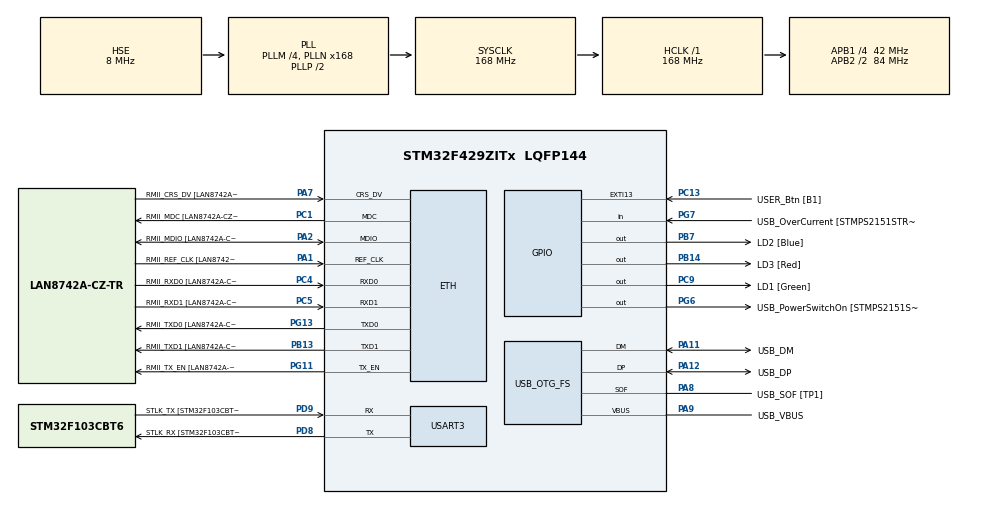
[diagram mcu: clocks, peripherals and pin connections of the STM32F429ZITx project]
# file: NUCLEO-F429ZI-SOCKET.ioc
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ETH.MediaInterface=ETH_MEDIA_INTERFACE_RMII
ETH.PHY_Name=LAN8742A_PHY_ADDRESS
ETH.PHY_Value=0
ETH.PhyAddress=0
FREERTOS.Queues01=SocketReceiveStack,16,uint16_t,0,Dynamic,NULL,NULL;SocketSendStack,16,uint16_t,0,Dynamic,NULL,NULL;SocketHandlerStack,16,uint16_t,0,Dynamic,NULL,NULL
FREERTOS.Tasks01=defaultTask,0,128,StartDefaultTask,Default,NULL,Dynamic,NULL,NULL;SocketSend,0,128,SocketSendFunct,Default,NULL,Dynamic,NULL,NULL;SocketReceived,0,128,SocketReceivedFunct,Default,NULL,Dynamic,NULL,NULL;SocketHandler,-2,128,SocketHandlerFunct,Default,NULL,Dynamic,NULL,NULL
FREERTOS.configUSE_PREEMPTION=0
LWIP.IP_ADDRESS=192.168.000.012
LWIP.LWIP_DHCP=0
LWIP.NETMASK_ADDRESS=255.255.255.000
LWIP.Version=v2.0.3_Cube
Mcu.Family=STM32F4
Mcu.Name=STM32F429ZITx
Mcu.Package=LQFP144
NVIC.ETH_IRQn=true\:5\:0\:false\:false\:true\:true\:false\:true
NVIC.PriorityGroup=NVIC_PRIORITYGROUP_4
NVIC.TIM1_UP_TIM10_IRQn=true\:0\:0\:false\:false\:true\:false\:false\:true
NVIC.TimeBase=TIM1_UP_TIM10_IRQn
NVIC.TimeBaseIP=TIM1
PA1.GPIO_Label=RMII_REF_CLK [LAN8742A-CZ-TR_REFCLK0]
PA1.Mode=RMII
PA1.Signal=ETH_REF_CLK
PA10.GPIO_Label=USB_ID
PA10.Signal=USB_OTG_FS_ID
PA11.GPIO_Label=USB_DM
PA11.Mode=Device_Only
PA11.Signal=USB_OTG_FS_DM
PA12.GPIO_Label=USB_DP
PA12.Mode=Device_Only
PA12.Signal=USB_OTG_FS_DP
PA13.GPIO_Label=TMS
PA13.Mode=Serial_Wire
PA13.Signal=SYS_JTMS-SWDIO
PA14.GPIO_Label=TCK
PA14.Mode=Serial_Wire
PA14.Signal=SYS_JTCK-SWCLK
PA2.GPIO_Label=RMII_MDIO [LAN8742A-CZ-TR_MDIO]
PA2.Mode=RMII
PA2.Signal=ETH_MDIO
PA7.GPIO_Label=RMII_CRS_DV [LAN8742A-CZ-TR_CRS_DV]
PA7.Mode=RMII
PA7.Signal=ETH_CRS_DV
PA8.GPIO_Label=USB_SOF [TP1]
PA8.Mode=Activate_SOF_FS
PA8.Signal=USB_OTG_FS_SOF
PA9.GPIO_Label=USB_VBUS
PA9.Mode=Activate_VBUS
PA9.Signal=USB_OTG_FS_VBUS
PB13.GPIO_Label=RMII_TXD1 [LAN8742A-CZ-TR_TXD1]
PB13.Mode=RMII
PB13.Signal=ETH_TXD1
PB14.GPIO_Label=LD3 [Red]
PB14.Signal=GPIO_Output
PB7.GPIO_Label=LD2 [Blue]
PB7.Signal=GPIO_Output
PC1.GPIO_Label=RMII_MDC [LAN8742A-CZ-TR_MDC]
PC1.Mode=RMII
PC1.Signal=ETH_MDC
PC13.GPIO_Label=USER_Btn [B1]
PC13.Signal=GPXTI13
PC14/OSC32_IN.Mode=LSE-External-Oscillator
PC14/OSC32_IN.Signal=RCC_OSC32_IN
PC15/OSC32_OUT.Mode=LSE-External-Oscillator
PC15/OSC32_OUT.Signal=RCC_OSC32_OUT
PC4.GPIO_Label=RMII_RXD0 [LAN8742A-CZ-TR_RXD0]
PC4.Mode=RMII
PC4.Signal=ETH_RXD0
PC5.GPIO_Label=RMII_RXD1 [LAN8742A-CZ-TR_RXD1]
PC5.Mode=RMII
PC5.Signal=ETH_RXD1
PC9.GPIO_Label=LD1 [Green]
PC9.Signal=GPIO_Output
PD8.GPIO_Label=STLK_RX [STM32F103CBT6_PA3]
PD8.Mode=Asynchronous
PD8.Signal=USART3_TX
PD9.GPIO_Label=STLK_TX [STM32F103CBT6_PA2]
PD9.Mode=Asynchronous
PD9.Signal=USART3_RX
PG11.GPIO_Label=RMII_TX_EN [LAN8742A-CZ-TR_TXEN]
PG11.Mode=RMII
PG11.Signal=ETH_TX_EN
PG13.GPIO_Label=RMII_TXD0 [LAN8742A-CZ-TR_TXD0]
PG13.Mode=RMII
PG13.Signal=ETH_TXD0
PG6.GPIO_Label=USB_PowerSwitchOn [STMPS2151STR_EN]
PG6.Signal=GPIO_Output
PG7.GPIO_Label=USB_OverCurrent [STMPS2151STR_FAULT]
PG7.Signal=GPIO_Input
PH0/OSC_IN.GPIO_Label=MCO [STM32F103CBT6_PA8]
PH0/OSC_IN.Mode=HSE-External-Clock-Source
PH0/OSC_IN.Signal=RCC_OSC_IN
PH1/OSC_OUT.Mode=HSE-External-Clock-Source
PH1/OSC_OUT.Signal=RCC_OSC_OUT
ProjectManager.HeapSize=0x200
ProjectManager.StackSize=0x400
ProjectManager.TargetToolchain=TrueSTUDIO
RCC.48MHZClocksFreq_Value=48000000
RCC.AHBFreq_Value=168000000
RCC.APB1CLKDivider=RCC_HCLK_DIV4
RCC.APB1Freq_Value=42000000
RCC.APB1TimFreq_Value=84000000
RCC.APB2CLKDivider=RCC_HCLK_DIV2
RCC.APB2Freq_Value=84000000
RCC.APB2TimCLKDivider=2
RCC.APB2TimFreq_Value=168000000
RCC.CortexFreq_Value=168000000
RCC.HCLKFreq_Value=168000000
RCC.HSE_VALUE=8000000
RCC.HSI_VALUE=16000000
RCC.PLLM=4
RCC.PLLMUL=RCC_PLL_MUL9
RCC.PLLN=168
RCC.PLLQ=7
RCC.PRESCALERUSB=RCC_USBCLKSOURCE_PLL_DIV1_5
RCC.SYSCLKFreq_VALUE=168000000
RCC.SYSCLKSource=RCC_SYSCLKSOURCE_PLLCLK
RCC.SYSCLKSourceVirtual=RCC_SYSCLKSOURCE_PLLCLK
RCC.USBFreq_Value=48000000
RCC.VCOOutputFreq_Value=336000000
USART3.VirtualMode=VM_ASYNC
USB_OTG_FS.VirtualMode=Device_Only
VP_FREERTOS_VS_CMSIS_V1.Mode=CMSIS_V1
VP_LWIP_VS_Enabled.Mode=Enabled
VP_SYS_VS_tim1.Mode=TIM1
board=NUCLEO-F429ZI

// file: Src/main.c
/* USER CODE BEGIN Header */
/**
  ******************************************************************************
  * @file           : main.c
  * @brief          : Main program body
  ******************************************************************************
  * @attention
  *
  * <h2><center>&copy; Copyright (c) 2019 STMicroelectronics.
  * All rights reserved.</center></h2>
  *
  * This software component is licensed by ST under Ultimate Liberty license
  * SLA0044, the "License"; You may not use this file except in compliance with
  * the License. You may obtain a copy of the License at:
  *                             www.st.com/SLA0044
  *
  ******************************************************************************
  */
/* USER CODE END Header */

#include "main.h"
#include "cmsis_os.h"
#include "lwip.h"

/* USER CODE BEGIN Includes */
#include "sockets.h"
#include "string.h"

/* USER CODE END Includes */

UART_HandleTypeDef huart3;

PCD_HandleTypeDef hpcd_USB_OTG_FS;

osThreadId defaultTaskHandle;
osThreadId SocketSendHandle;
osThreadId SocketReceivedHandle;
osThreadId SocketHandlerHandle;
osMessageQId SocketReceiveStackHandle;
osMessageQId SocketSendStackHandle;
osMessageQId SocketHandlerStackHandle;

void SystemClock_Config(void);
static void MX_GPIO_Init(void);
static void MX_USART3_UART_Init(void);
static void MX_USB_OTG_FS_PCD_Init(void);
void StartDefaultTask(void const * argument);
void SocketSendFunct(void const * argument);
void SocketReceivedFunct(void const * argument);
void SocketHandlerFunct(void const * argument);

int main(void)
{

  /* MCU Configuration--------------------------------------------------------*/

  /* Reset of all peripherals, Initializes the Flash interface and the Systick. */
  HAL_Init();

  /* Configure the system clock */
  SystemClock_Config();

  /* Initialize all configured peripherals */
  MX_GPIO_Init();
  MX_USART3_UART_Init();
  MX_USB_OTG_FS_PCD_Init();

  /* Create the queue(s) */
  /* definition and creation of SocketReceiveStack */
  osMessageQDef(SocketReceiveStack, 16, uint16_t);
  SocketReceiveStackHandle = osMessageCreate(osMessageQ(SocketReceiveStack), NULL);

  /* definition and creation of SocketSendStack */
  osMessageQDef(SocketSendStack, 16, uint16_t);
  SocketSendStackHandle = osMessageCreate(osMessageQ(SocketSendStack), NULL);

  /* definition and creation of SocketHandlerStack */
  osMessageQDef(SocketHandlerStack, 16, uint16_t);
  SocketHandlerStackHandle = osMessageCreate(osMessageQ(SocketHandlerStack), NULL);

  /* Create the thread(s) */
  /* definition and creation of defaultTask */
  osThreadDef(defaultTask, StartDefaultTask, osPriorityNormal, 0, 128);
  defaultTaskHandle = osThreadCreate(osThread(defaultTask), NULL);

  /* definition and creation of SocketSend */
  osThreadDef(SocketSend, SocketSendFunct, osPriorityNormal, 0, 128);
  SocketSendHandle = osThreadCreate(osThread(SocketSend), NULL);

  /* definition and creation of SocketReceived */
  osThreadDef(SocketReceived, SocketReceivedFunct, osPriorityNormal, 0, 128);
  SocketReceivedHandle = osThreadCreate(osThread(SocketReceived), NULL);

  /* definition and creation of SocketHandler */
  osThreadDef(SocketHandler, SocketHandlerFunct, osPriorityLow, 0, 128);
  SocketHandlerHandle = osThreadCreate(osThread(SocketHandler), NULL);

  /* Start scheduler */
  osKernelStart();

  /* We should never get here as control is now taken by the scheduler */

  /* Infinite loop */
  while (1)
  {

  }
}

void SystemClock_Config(void)
{
  RCC_OscInitTypeDef RCC_OscInitStruct = {0};
  RCC_ClkInitTypeDef RCC_ClkInitStruct = {0};

  /** Configure the main internal regulator output voltage
  */
  __HAL_RCC_PWR_CLK_ENABLE();
  __HAL_PWR_VOLTAGESCALING_CONFIG(PWR_REGULATOR_VOLTAGE_SCALE1);
  /** Initializes the CPU, AHB and APB busses clocks
  */
  RCC_OscInitStruct.OscillatorType = RCC_OSCILLATORTYPE_HSE;
  RCC_OscInitStruct.HSEState = RCC_HSE_BYPASS;
  RCC_OscInitStruct.PLL.PLLState = RCC_PLL_ON;
  RCC_OscInitStruct.PLL.PLLSource = RCC_PLLSOURCE_HSE;
  RCC_OscInitStruct.PLL.PLLM = 4;
  RCC_OscInitStruct.PLL.PLLN = 168;
  RCC_OscInitStruct.PLL.PLLP = RCC_PLLP_DIV2;
  RCC_OscInitStruct.PLL.PLLQ = 7;
  if (HAL_RCC_OscConfig(&RCC_OscInitStruct) != HAL_OK)
  {
    Error_Handler();
  }
  /** Initializes the CPU, AHB and APB busses clocks
  */
  RCC_ClkInitStruct.ClockType = RCC_CLOCKTYPE_HCLK|RCC_CLOCKTYPE_SYSCLK
                              |RCC_CLOCKTYPE_PCLK1|RCC_CLOCKTYPE_PCLK2;
  RCC_ClkInitStruct.SYSCLKSource = RCC_SYSCLKSOURCE_PLLCLK;
  RCC_ClkInitStruct.AHBCLKDivider = RCC_SYSCLK_DIV1;
  RCC_ClkInitStruct.APB1CLKDivider = RCC_HCLK_DIV4;
  RCC_ClkInitStruct.APB2CLKDivider = RCC_HCLK_DIV2;

  if (HAL_RCC_ClockConfig(&RCC_ClkInitStruct, FLASH_LATENCY_5) != HAL_OK)
  {
    Error_Handler();
  }
}

static void MX_USART3_UART_Init(void)
{

  huart3.Instance = USART3;
  huart3.Init.BaudRate = 115200;
  huart3.Init.WordLength = UART_WORDLENGTH_8B;
  huart3.Init.StopBits = UART_STOPBITS_1;
  huart3.Init.Parity = UART_PARITY_NONE;
  huart3.Init.Mode = UART_MODE_TX_RX;
  huart3.Init.HwFlowCtl = UART_HWCONTROL_NONE;
  huart3.Init.OverSampling = UART_OVERSAMPLING_16;
  if (HAL_UART_Init(&huart3) != HAL_OK)
  {
    Error_Handler();
  }

}

static void MX_USB_OTG_FS_PCD_Init(void)
{

  hpcd_USB_OTG_FS.Instance = USB_OTG_FS;
  hpcd_USB_OTG_FS.Init.dev_endpoints = 4;
  hpcd_USB_OTG_FS.Init.speed = PCD_SPEED_FULL;
  hpcd_USB_OTG_FS.Init.dma_enable = DISABLE;
  hpcd_USB_OTG_FS.Init.phy_itface = PCD_PHY_EMBEDDED;
  hpcd_USB_OTG_FS.Init.Sof_enable = ENABLE;
  hpcd_USB_OTG_FS.Init.low_power_enable = DISABLE;
  hpcd_USB_OTG_FS.Init.lpm_enable = DISABLE;
  hpcd_USB_OTG_FS.Init.vbus_sensing_enable = ENABLE;
  hpcd_USB_OTG_FS.Init.use_dedicated_ep1 = DISABLE;
  if (HAL_PCD_Init(&hpcd_USB_OTG_FS) != HAL_OK)
  {
    Error_Handler();
  }

}

static void MX_GPIO_Init(void)
{
  GPIO_InitTypeDef GPIO_InitStruct = {0};

  /* GPIO Ports Clock Enable */
  __HAL_RCC_GPIOC_CLK_ENABLE();
  __HAL_RCC_GPIOH_CLK_ENABLE();
  __HAL_RCC_GPIOA_CLK_ENABLE();
  __HAL_RCC_GPIOB_CLK_ENABLE();
  __HAL_RCC_GPIOD_CLK_ENABLE();
  __HAL_RCC_GPIOG_CLK_ENABLE();

  /*Configure GPIO pin Output Level */
  HAL_GPIO_WritePin(GPIOB, LD3_Pin|LD2_Pin, GPIO_PIN_RESET);

  /*Configure GPIO pin Output Level */
  HAL_GPIO_WritePin(USB_PowerSwitchOn_GPIO_Port, USB_PowerSwitchOn_Pin, GPIO_PIN_RESET);

  /*Configure GPIO pin Output Level */
  HAL_GPIO_WritePin(LD1_GPIO_Port, LD1_Pin, GPIO_PIN_RESET);

  /*Configure GPIO pin : USER_Btn_Pin */
  GPIO_InitStruct.Pin = USER_Btn_Pin;
  GPIO_InitStruct.Mode = GPIO_MODE_IT_RISING;
  GPIO_InitStruct.Pull = GPIO_NOPULL;
  HAL_GPIO_Init(USER_Btn_GPIO_Port, &GPIO_InitStruct);

  /*Configure GPIO pins : LD3_Pin LD2_Pin */
  GPIO_InitStruct.Pin = LD3_Pin|LD2_Pin;
  GPIO_InitStruct.Mode = GPIO_MODE_OUTPUT_PP;
  GPIO_InitStruct.Pull = GPIO_NOPULL;
  GPIO_InitStruct.Speed = GPIO_SPEED_FREQ_LOW;
  HAL_GPIO_Init(GPIOB, &GPIO_InitStruct);

  /*Configure GPIO pin : USB_PowerSwitchOn_Pin */
  GPIO_InitStruct.Pin = USB_PowerSwitchOn_Pin;
  GPIO_InitStruct.Mode = GPIO_MODE_OUTPUT_PP;
  GPIO_InitStruct.Pull = GPIO_NOPULL;
  GPIO_InitStruct.Speed = GPIO_SPEED_FREQ_LOW;
  HAL_GPIO_Init(USB_PowerSwitchOn_GPIO_Port, &GPIO_InitStruct);

  /*Configure GPIO pin : USB_OverCurrent_Pin */
  GPIO_InitStruct.Pin = USB_OverCurrent_Pin;
  GPIO_InitStruct.Mode = GPIO_MODE_INPUT;
  GPIO_InitStruct.Pull = GPIO_NOPULL;
  HAL_GPIO_Init(USB_OverCurrent_GPIO_Port, &GPIO_InitStruct);

  /*Configure GPIO pin : LD1_Pin */
  GPIO_InitStruct.Pin = LD1_Pin;
  GPIO_InitStruct.Mode = GPIO_MODE_OUTPUT_PP;
  GPIO_InitStruct.Pull = GPIO_NOPULL;
  GPIO_InitStruct.Speed = GPIO_SPEED_FREQ_LOW;
  HAL_GPIO_Init(LD1_GPIO_Port, &GPIO_InitStruct);

}

void StartDefaultTask(void const * argument)
{
  /* init code for LWIP */
  MX_LWIP_Init();

  /* USER CODE BEGIN 5 */
  HAL_GPIO_WritePin(LD2_GPIO_Port, LD2_Pin, GPIO_PIN_SET);

  /* Infinite loop */
  for(;;)
  {
	  HAL_GPIO_TogglePin(LD2_GPIO_Port, LD2_Pin);
	  osDelay(500);
  }
  /* USER CODE END 5 */
}

/* USER CODE BEGIN Header_SocketSendFunct */
/**
* @brief Function implementing the SocketSend thread.
* @param argument: Not used
* @retval None
*/
int sock;
/* USER CODE END Header_SocketSendFunct */
void SocketSendFunct(void const * argument)
{
  /* USER CODE BEGIN SocketSendFunct */
	static int cpt = 0;

	int ret;

	  /* Infinite loop */
	  for(;;)
	  {
	    osDelay(2000);
	   	/* write something */
	    if(sock >=0)
	     {
	    	if (cpt ==0)
	    	{
	   	  	 ret = send(sock,"BONjour\n", 8, 0); cpt++;}
	    	else{
	   	   	 ret = send(sock,"BANDONr\n", 8, 0);cpt =0;}
	     	 }
	  }

  /* USER CODE END SocketSendFunct */
}

void SocketReceivedFunct(void const * argument)
{
  /* USER CODE BEGIN SocketReceivedFunct */
	 int ret;
	 char RECEIVE[100];

  if(sock >=0)
  {
	  /* Infinite loop */
	  for(;;)
	  {
	    osDelay(1);
	    ret =  recv(sock,RECEIVE,100,0);
	    if(ret!=0)
	    {
	      ret = send(sock,"receive\n", 8, 0);
	    }
	  }
  }
  /* USER CODE END SocketReceivedFunct */
}

void SocketHandlerFunct(void const * argument)
{
  /* USER CODE BEGIN SocketHandlerFunct */

	struct sockaddr_in address;

	    sock =-1;
		osDelay(10);
		/* create a TCP socket */
		if ((sock = socket(AF_INET, SOCK_STREAM, 0)) >= 0)
		    {
			address.sin_family = AF_INET;
			address.sin_port = htons(65432);
			address.sin_addr.s_addr = inet_addr("192.168.1.4");

			if (lwip_connect(sock, (struct sockaddr *)&address, sizeof (address)) < 0)
				{
				  sock =-1;
				}
		    }

  /* Infinite loop */
  for(;;)
  {
    osDelay(1);
  }
  /* USER CODE END SocketHandlerFunct */
}

void HAL_TIM_PeriodElapsedCallback(TIM_HandleTypeDef *htim)
{
  if (htim->Instance == TIM1) {
    HAL_IncTick();
  }
}

void Error_Handler(void)
{
}

/************************ (C) COPYRIGHT STMicroelectronics *****END OF FILE****/
